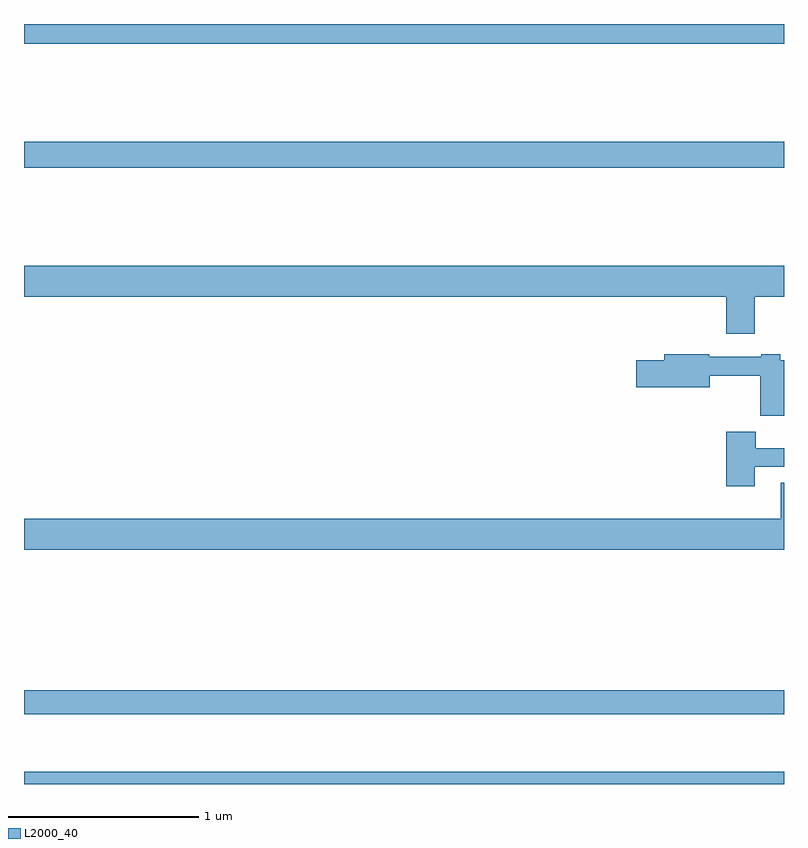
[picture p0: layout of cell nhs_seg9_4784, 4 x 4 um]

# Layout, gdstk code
import gdstk
lib = gdstk.Library(unit=1e-6, precision=1e-09)
def R(c, l, rs):  # rectangles x0, y0, x1, y1
    for r in rs: c.add(gdstk.rectangle(r[:2], r[2:], *l))
def P(c, l, *ps):  # polygons
    for p in ps: c.add(gdstk.Polygon(p, *l))
L2000_40 = (2000, 40)

nhs_seg9_4784 = lib.new_cell('nhs_seg9_4784')
R(nhs_seg9_4784, L2000_40, [(387,1216.5,391,1216.564), (387,1216.866,391,1216.994), (387,1219.744,391,1219.88), (387,1220.396,391,1220.5)])
P(nhs_seg9_4784, L2000_40, [(390.847,1219.064),(391,1219.064),(391,1219.228),(387,1219.228),(387,1219.064),(390.695,1219.064),(390.695,1218.87),(390.847,1218.87)],
  [(391,1218.73),(390.981,1218.73),(390.981,1218.763),(390.881,1218.763),(390.881,1218.75),(390.606,1218.75),(390.606,1218.763),(390.371,1218.763),(390.371,1218.729),(390.222,1218.729),(390.222,1218.587),(390.61,1218.587),(390.61,1218.649),(390.874,1218.649),(390.874,1218.437),(391,1218.437)],
  [(390.847,1218.171),(391,1218.171),(391,1218.268),(390.85,1218.268),(390.85,1218.355),(390.695,1218.355),(390.695,1218.066),(390.847,1218.066)],
  [(391,1218.086),(390.983,1218.086),(390.983,1217.896),(387,1217.896),(387,1217.732),(391,1217.732)])

lib.write_gds('nhs_seg9_4784.gds')
